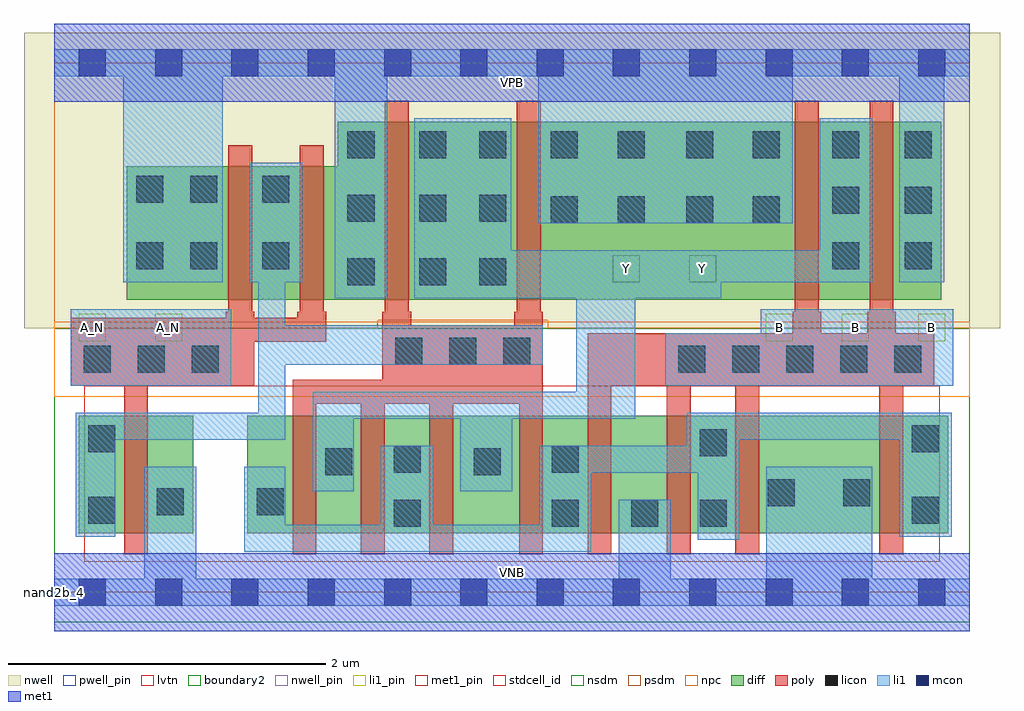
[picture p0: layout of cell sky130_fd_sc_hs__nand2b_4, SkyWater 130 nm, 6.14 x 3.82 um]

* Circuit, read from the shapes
.subckt sky130_fd_sc_hs__nand2b_4 A_N B VGND VNB VPB VPWR Y
XM1 VGND A_N n1 VNB sky130_fd_pr__nfet_01v8_lvt w=0.74 l=0.15
XM2 Y n1 n2 VNB sky130_fd_pr__nfet_01v8_lvt w=0.74 l=0.15 m=4
XM3 VGND B n2 VNB sky130_fd_pr__nfet_01v8_lvt w=0.74 l=0.15 m=4
XM4 n1 A_N VPWR VPB sky130_fd_pr__pfet_01v8 w=0.84 l=0.15 m=2
XM5 Y n1 VPWR VPB sky130_fd_pr__pfet_01v8 w=1.12 l=0.15 m=2
XM6 Y B VPWR VPB sky130_fd_pr__pfet_01v8 w=1.12 l=0.15 m=2
.ends

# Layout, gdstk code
import gdstk
lib = gdstk.Library(unit=1e-6, precision=1e-09)
def R(c, l, rs):  # rectangles x0, y0, x1, y1
    for r in rs: c.add(gdstk.rectangle(r[:2], r[2:], *l))
def A(c, l, x, y, w, h, nx, ny, dx, dy):  # array of equal rectangles
    R(c, l, [(x+i*dx, y+j*dy, x+i*dx+w, y+j*dy+h) for i in range(nx) for j in range(ny)])
def P(c, l, *ps):  # polygons
    for p in ps: c.add(gdstk.Polygon(p, *l))
nwell_pin = (64, 16)
nwell = (64, 20)
diff = (65, 20)
poly = (66, 20)
licon = (66, 44)
li1_pin = (67, 16)
li1 = (67, 20)
mcon = (67, 44)
met1_pin = (68, 16)
met1 = (68, 20)
stdcell_id = (81, 4)
nsdm = (93, 44)
psdm = (94, 20)
npc = (95, 20)
pwell_pin = (122, 16)
lvtn = (125, 44)
boundary2 = (236, 0)

sky130_fd_sc_hs__nand2b_ = lib.new_cell('sky130_fd_sc_hs__nand2b_4')
R(sky130_fd_sc_hs__nand2b_, nwell_pin, [(0,3.085,5.76,3.33)])
R(sky130_fd_sc_hs__nand2b_, nwell, [(-0.19,1.66,5.95,3.52)])
R(sky130_fd_sc_hs__nand2b_, diff, [(0.155,0.37,0.875,1.11), (1.215,0.37,5.625,1.11)])
P(sky130_fd_sc_hs__nand2b_, diff, [(5.58,2.96),(1.785,2.96),(1.785,2.68),(0.455,2.68),(0.455,1.84),(5.58,1.84)])
P(sky130_fd_sc_hs__nand2b_, poly, [(1.71,1.765),(1.695,1.765),(1.695,2.81),(1.545,2.81),(1.545,1.765),(1.53,1.765),(1.53,1.725),(1.26,1.725),(1.26,1.765),(1.245,1.765),(1.245,2.81),(1.095,2.81),(1.095,1.765),(1.08,1.765),(1.08,1.725),(0.105,1.725),(0.105,1.3),(0.44,1.3),(0.44,0.24),(0.59,0.24),(0.59,1.3),(1.26,1.3),(1.26,1.575),(1.71,1.575)],
  [(3.075,1.765),(3.06,1.765),(3.06,3.09),(2.91,3.09),(2.91,1.765),(2.895,1.765),(2.895,1.68),(2.245,1.68),(2.245,1.765),(2.23,1.765),(2.23,3.09),(2.08,3.09),(2.08,1.765),(2.065,1.765),(2.065,1.335),(1.5,1.335),(1.5,0.24),(1.65,0.24),(1.65,1.185),(1.93,1.185),(1.93,0.24),(2.08,0.24),(2.08,1.185),(2.36,1.185),(2.36,0.24),(2.51,0.24),(2.51,1.185),(2.925,1.185),(2.925,0.24),(3.075,0.24)],
  [(5.535,1.63),(5.295,1.63),(5.295,1.765),(5.28,1.765),(5.28,3.09),(5.13,3.09),(5.13,1.765),(5.115,1.765),(5.115,1.63),(4.825,1.63),(4.825,1.765),(4.81,1.765),(4.81,3.09),(4.66,3.09),(4.66,1.765),(4.645,1.765),(4.645,1.63),(3.355,1.63),(3.355,0.24),(3.505,0.24),(3.505,1.3),(3.855,1.3),(3.855,0.24),(4.005,0.24),(4.005,1.3),(4.285,1.3),(4.285,0.24),(4.435,0.24),(4.435,1.3),(5.19,1.3),(5.19,0.24),(5.34,0.24),(5.34,1.3),(5.535,1.3)])
A(sky130_fd_sc_hs__nand2b_, licon, 0.185, 1.38, 0.17, 0.17, 3, 1, 0.34, 0)
A(sky130_fd_sc_hs__nand2b_, licon, 3.925, 1.38, 0.17, 0.17, 5, 1, 0.34, 0)
A(sky130_fd_sc_hs__nand2b_, licon, 2.145, 1.43, 0.17, 0.17, 3, 1, 0.34, 0)
A(sky130_fd_sc_hs__nand2b_, licon, 1.845, 1.93, 0.17, 0.17, 1, 3, 0, 0.4)
A(sky130_fd_sc_hs__nand2b_, licon, 2.295, 1.93, 0.17, 0.17, 1, 3, 0, 0.4)
A(sky130_fd_sc_hs__nand2b_, licon, 2.675, 1.93, 0.17, 0.17, 1, 3, 0, 0.4)
A(sky130_fd_sc_hs__nand2b_, licon, 4.895, 2.03, 0.17, 0.17, 1, 3, 0, 0.35)
A(sky130_fd_sc_hs__nand2b_, licon, 5.35, 2.03, 0.17, 0.17, 1, 3, 0, 0.35)
R(sky130_fd_sc_hs__nand2b_, licon, [(2.135,0.41,2.305,0.58), (3.13,0.41,3.3,0.58), (3.63,0.41,3.8,0.58), (4.06,0.41,4.23,0.58), (0.215,0.43,0.385,0.6), (5.395,0.43,5.565,0.6), (0.645,0.485,0.815,0.655), (1.275,0.485,1.445,0.655), (4.49,0.54,4.66,0.71), (4.965,0.54,5.135,0.71), (1.705,0.735,1.875,0.905), (2.64,0.735,2.81,0.905), (2.135,0.75,2.305,0.92), (3.13,0.75,3.3,0.92), (4.06,0.855,4.23,1.025), (0.215,0.88,0.385,1.05), (5.395,0.88,5.565,1.05), (0.515,2.03,0.685,2.2), (0.855,2.03,1.025,2.2), (1.31,2.03,1.48,2.2), (3.125,2.32,3.295,2.49), (3.545,2.32,3.715,2.49), (3.975,2.32,4.145,2.49), (4.395,2.32,4.565,2.49), (0.515,2.45,0.685,2.62), (0.855,2.45,1.025,2.62), (1.31,2.45,1.48,2.62), (3.125,2.73,3.295,2.9), (3.545,2.73,3.715,2.9), (3.975,2.73,4.145,2.9), (4.395,2.73,4.565,2.9)])
A(sky130_fd_sc_hs__nand2b_, li1_pin, 4.475, 1.58, 0.17, 0.17, 3, 1, 0.48, 0)
R(sky130_fd_sc_hs__nand2b_, li1_pin, [(0.155,1.58,0.325,1.75), (0.635,1.58,0.805,1.75), (3.515,1.95,3.685,2.12), (3.995,1.95,4.165,2.12)])
R(sky130_fd_sc_hs__nand2b_, li1, [(0.105,1.3,1.115,1.78)])
P(sky130_fd_sc_hs__nand2b_, li1, [(5.76,0.085),(5.145,0.085),(5.145,0.79),(4.48,0.79),(4.48,0.085),(3.88,0.085),(3.88,0.58),(3.55,0.58),(3.55,0.085),(0.895,0.085),(0.895,0.79),(0.565,0.79),(0.565,0.085),(0,0.085),(0,-0.085),(5.76,-0.085)],
  [(3.075,1.68),(1.455,1.68),(1.455,1.95),(1.56,1.95),(1.56,2.7),(1.23,2.7),(1.23,1.95),(1.285,1.95),(1.285,1.13),(0.135,1.13),(0.135,0.35),(0.385,0.35),(0.385,0.96),(1.455,0.96),(1.455,1.43),(3.075,1.43)],
  [(5.655,1.78),(4.445,1.78),(4.445,1.63),(3.845,1.63),(3.845,1.3),(5.655,1.3)],
  [(5.76,3.415),(0,3.415),(0,3.245),(0.435,3.245),(0.435,1.95),(1.06,1.95),(1.06,3.245),(1.765,3.245),(1.765,1.85),(2.095,1.85),(2.095,3.245),(3.045,3.245),(3.045,2.32),(4.645,2.32),(4.645,3.245),(5.315,3.245),(5.315,1.95),(5.6,1.95),(5.6,3.245),(5.76,3.245)],
  [(5.645,1.13),(3.98,1.13),(3.98,0.92),(3.05,0.92),(3.05,0.425),(2.385,0.425),(2.385,0.92),(2.055,0.92),(2.055,0.425),(1.455,0.425),(1.455,0.79),(1.195,0.79),(1.195,0.255),(3.38,0.255),(3.38,0.75),(4.05,0.75),(4.05,0.33),(4.31,0.33),(4.31,0.96),(5.315,0.96),(5.315,0.35),(5.645,0.35)],
  [(5.145,2.98),(4.815,2.98),(4.815,2.15),(2.875,2.15),(2.875,2.98),(2.265,2.98),(2.265,1.85),(3.285,1.85),(3.285,1.26),(1.625,1.26),(1.625,0.635),(1.885,0.635),(1.885,1.09),(2.555,1.09),(2.555,0.635),(2.88,0.635),(2.88,1.09),(3.655,1.09),(3.655,1.85),(4.195,1.85),(4.195,1.95),(5.145,1.95)])
A(sky130_fd_sc_hs__nand2b_, mcon, 0.155, -0.085, 0.17, 0.17, 12, 2, 0.48, 3.33)
R(sky130_fd_sc_hs__nand2b_, met1_pin, [(0,0,5.76,0.245), (0,3.085,5.76,3.33)])
R(sky130_fd_sc_hs__nand2b_, met1, [(0,-0.245,5.76,0.245), (0,3.085,5.76,3.575)])
R(sky130_fd_sc_hs__nand2b_, stdcell_id, [(0,0,5.76,3.33)])
R(sky130_fd_sc_hs__nand2b_, nsdm, [(0,-0.19,5.76,1.66)])
P(sky130_fd_sc_hs__nand2b_, psdm, [(5.76,3.52),(0,3.52),(0,1.66),(2.035,1.66),(2.035,1.71),(3.105,1.71),(3.105,1.66),(5.76,1.66)])
R(sky130_fd_sc_hs__nand2b_, npc, [(0,1.23,5.76,1.7)])
R(sky130_fd_sc_hs__nand2b_, pwell_pin, [(0,0,5.76,0.245)])
R(sky130_fd_sc_hs__nand2b_, lvtn, [(0.19,0.19,5.57,1.3)])
R(sky130_fd_sc_hs__nand2b_, boundary2, [(0,0,5.76,3.33)])
sky130_fd_sc_hs__nand2b_.add(gdstk.Label('nand2b_4', (0,0), layer=83, texttype=44))
sky130_fd_sc_hs__nand2b_.add(gdstk.Label('VNB', (2.88,0.123), layer=64, texttype=59))
sky130_fd_sc_hs__nand2b_.add(gdstk.Label('VPB', (2.88,3.208), layer=64, texttype=5))
sky130_fd_sc_hs__nand2b_.add(gdstk.Label('VPWR', (2.88,3.208), layer=68, texttype=5))
sky130_fd_sc_hs__nand2b_.add(gdstk.Label('VGND', (2.88,0.123), layer=68, texttype=5))
sky130_fd_sc_hs__nand2b_.add(gdstk.Label('A_N', (0.24,1.665), layer=67, texttype=5))
sky130_fd_sc_hs__nand2b_.add(gdstk.Label('A_N', (0.72,1.665), layer=67, texttype=5))
sky130_fd_sc_hs__nand2b_.add(gdstk.Label('Y', (3.6,2.035), layer=67, texttype=5))
sky130_fd_sc_hs__nand2b_.add(gdstk.Label('Y', (4.08,2.035), layer=67, texttype=5))
sky130_fd_sc_hs__nand2b_.add(gdstk.Label('B', (4.56,1.665), layer=67, texttype=5))
sky130_fd_sc_hs__nand2b_.add(gdstk.Label('B', (5.04,1.665), layer=67, texttype=5))
sky130_fd_sc_hs__nand2b_.add(gdstk.Label('B', (5.52,1.665), layer=67, texttype=5))

lib.write_gds('sky130_fd_sc_hs__nand2b_4.gds')
